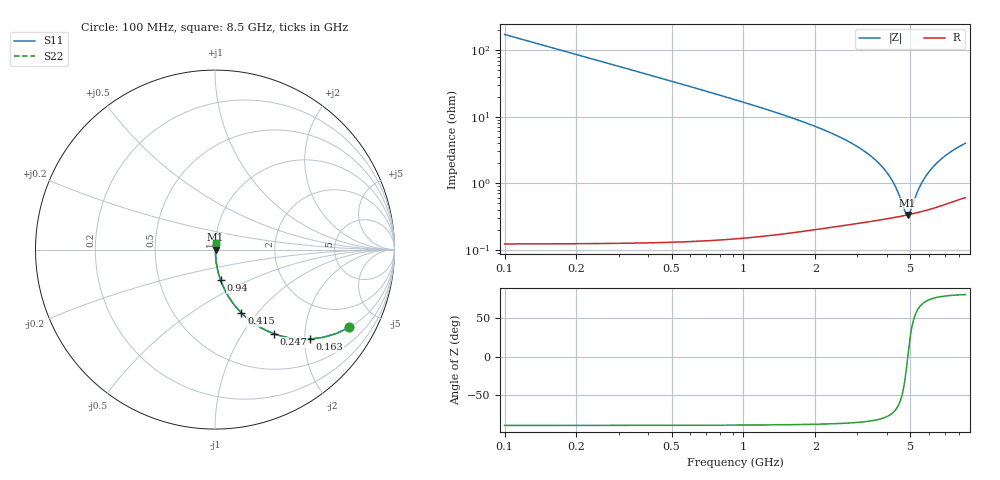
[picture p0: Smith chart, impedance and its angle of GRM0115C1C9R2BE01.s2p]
!Murata Part Number: GRM0115C1C9R2BE01
!These Parameters are Measured in Series Mode Connection
!Data Generated on Mar 30, 2021
!  o--ll--o
!Port1  Port2
!  o------o
!Operation Temp=25[degC], DC Bias Voltage=0[V]
!Freq. Start=100[MHz] Stop=9[GHz] 401[Steps]
# Hz S RI R 50
!Freq.(Hz) S11(Real) S11(Imag) S21(Real) S21(Imag) S12(Real) S12(Imag) S22(Real) S22(Imag)
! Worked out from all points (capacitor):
!   401 points, 100 MHz to 8.5 GHz, reference 50 ohm
!   read as one part in series: C = 9.2 pF near 142 MHz
!   lowest |Z| = 334 mohm at 4.867 GHz (marker M1)
!   series resonance near 4.877 GHz, so ESL is about 120 pH
!   S11 on the Smith chart (normalised r, x): 100 MHz: 1.00, -3.46; 163 MHz: 1.00, -2.12; 247 MHz: 1.00, -1.40; 415 MHz: 1.00, -0.83; 940 MHz: 1.00, -0.35; 8.5 GHz: 1.01, +0.08
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1e8  0.7492 -0.4331  0.2508 0.4331  0.2508 0.4331  0.7492 -0.4331
1.63e8  0.5291 -0.4986  0.4709 0.4986  0.4709 0.4986  0.5291 -0.4986
2.47e8  0.3282 -0.4687  0.6718 0.4687  0.6718 0.4687  0.3282 -0.4687
3.31e8  0.2134 -0.4085  0.7866 0.4085  0.7866 0.4085  0.2134 -0.4085
4.15e8  0.1469 -0.3524  0.8531 0.3524  0.8531 0.3524  0.1469 -0.3524
6.25e8  0.0699 -0.2526  0.9301 0.2526  0.9301 0.2526  0.0699 -0.2526
9.4e8  0.0316 -0.1709  0.9684 0.1709  0.9684 0.1709  0.0316 -0.1709
1.507e9  0.0122 -0.1019  0.9878 0.1019  0.9878 0.1019  0.0122 -0.1019
2.914e9  0.00384 -0.0375  0.9962 0.0375  0.9962 0.0375  0.00384 -0.0375
3.733e9  0.00314 -0.0188  0.9969 0.0188  0.9969 0.0188  0.00314 -0.0188
4.048e9  0.0031 -0.013  0.9969 0.013  0.9969 0.013  0.0031 -0.013
4.3e9  0.00312 -0.00878  0.9969 0.00878  0.9969 0.00878  0.00312 -0.00878
4.468e9  0.00316 -0.00609  0.9968 0.00609  0.9968 0.00609  0.00316 -0.00609
4.741e9  0.00326 -0.00196  0.9967 0.00196  0.9967 0.00196  0.00326 -0.00196
4.867e9  0.00332 -0.000143  0.9967 0.000143  0.9967 0.000143  0.00332 -0.000143
4.993e9  0.00339 0.00163  0.9966 -0.00163  0.9966 -0.00163  0.00339 0.00163
5.392e9  0.00366 0.00696  0.9963 -0.00696  0.9963 -0.00696  0.00366 0.00696
5.707e9  0.00393 0.0109  0.9961 -0.0109  0.9961 -0.0109  0.00393 0.0109
5.98e9  0.00419 0.0142  0.9958 -0.0142  0.9958 -0.0142  0.00419 0.0142
6.316e9  0.00455 0.018  0.9954 -0.018  0.9954 -0.018  0.00455 0.018
7.114e9  0.00556 0.0263  0.9944 -0.0263  0.9944 -0.0263  0.00556 0.0263
8.5e9  0.00755 0.0389  0.9924 -0.0389  0.9924 -0.0389  0.00755 0.0389
